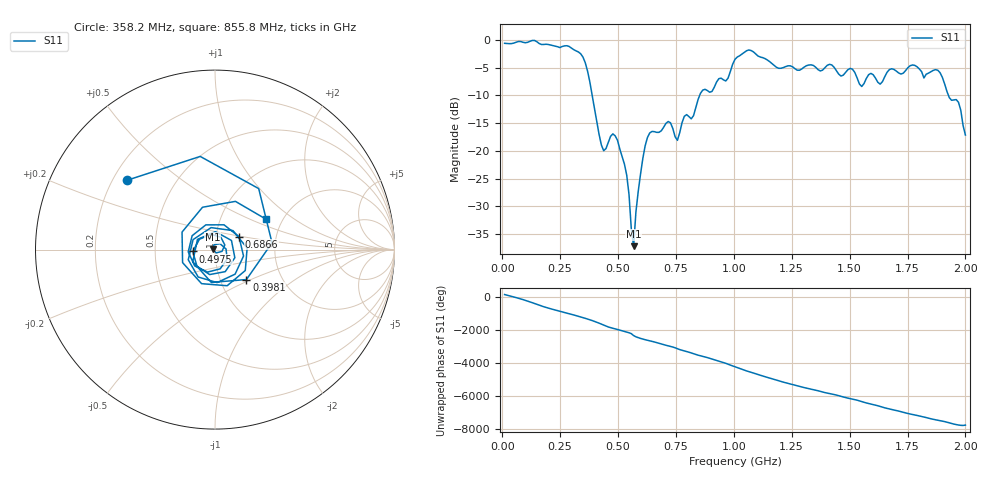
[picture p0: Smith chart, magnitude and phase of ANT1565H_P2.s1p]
!Created with skrf (http://scikit-rf.org).
# Hz S RI R 50.0
!freq ReS11 ImS11
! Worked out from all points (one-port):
!   201 points, 10 MHz to 2 GHz, reference 50 ohm
!   lowest |S11| = -37.2 dB at 567.2 MHz (marker M1), VSWR 1.03, Z = 48.6 + j0.113 ohm
!   |S11| at or under -10 dB: 388.5 MHz to 852.3 MHz (463.8 MHz wide, 74.8 % of centre); 1.927 GHz to end of sweep
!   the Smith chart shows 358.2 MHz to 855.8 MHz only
!   S11 on the Smith chart (normalised r, x): 358.2 MHz: 0.26, +0.33; 398.1 MHz: 1.33, -0.47; 497.6 MHz: 0.78, -0.02; 686.6 MHz: 1.29, +0.19; 855.8 MHz: 1.64, +0.63
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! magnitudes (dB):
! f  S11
! 10 MHz  -0.6
! 258.8 MHz  -1.2
! 358.2 MHz  -4.1
! 398.1 MHz  -12.3
! 437.9 MHz  -20.0
! 497.6 MHz  -18.1
! 507.5 MHz  -19.7
! 537.4 MHz  -24.4
! 567.2 MHz  -37.2
! 587.1 MHz  -27.3
! 617 MHz  -19.1
! 686.6 MHz  -16.4
! 726.4 MHz  -14.9
! 756.2 MHz  -18.1
! 786.1 MHz  -13.8
! 825.9 MHz  -13.6
! 855.8 MHz  -9.6
! 965.2 MHz  -7.4
! 1.005 GHz  -3.5
! 1.065 GHz  -1.8
! 1.254 GHz  -4.8
! 1.502 GHz  -5.1
! 1.552 GHz  -8.4
! 1.751 GHz  -5.0
! 1.891 GHz  -5.9
! 1.93 GHz  -10.4
! 1.97 GHz  -11.2
! 2 GHz  -17.1
